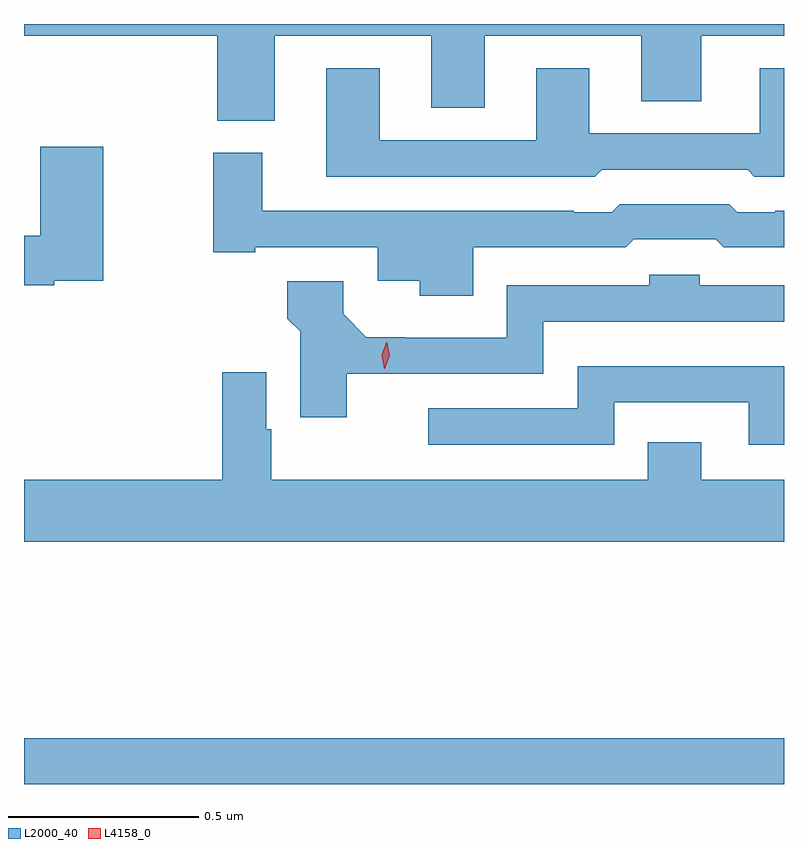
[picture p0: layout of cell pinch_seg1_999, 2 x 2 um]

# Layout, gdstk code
import gdstk
lib = gdstk.Library(unit=1e-6, precision=1e-09)
def R(c, l, rs):  # rectangles x0, y0, x1, y1
    for r in rs: c.add(gdstk.rectangle(r[:2], r[2:], *l))
def P(c, l, *ps):  # polygons
    for p in ps: c.add(gdstk.Polygon(p, *l))
L2000_40 = (2000, 40)
L4158_0 = (4158, 0)

pinch_seg1_999 = lib.new_cell('pinch_seg1_999')
R(pinch_seg1_999, L2000_40, [(300.277,571.075,302.277,571.196)])
P(pinch_seg1_999, L2000_40, [(300.937,573.044),(301.349,573.044),(301.349,572.854),(301.489,572.854),(301.489,573.044),(301.901,573.044),(301.901,572.872),(302.059,572.872),(302.059,573.044),(302.277,573.044),(302.277,573.075),(300.277,573.075),(300.277,573.044),(300.785,573.044),(300.785,572.821),(300.937,572.821)],
  [(301.797,572.691),(302.181,572.691),(302.199,572.673),(302.277,572.673),(302.277,572.959),(302.213,572.959),(302.213,572.787),(301.765,572.787),(301.765,572.959),(301.625,572.959),(301.625,572.769),(301.213,572.769),(301.213,572.959),(301.073,572.959),(301.073,572.673),(301.779,572.673)],
  [(300.357,572.399),(300.486,572.399),(300.486,572.752),(300.32,572.752),(300.32,572.518),(300.277,572.518),(300.277,572.387),(300.357,572.387)],
  [(301.459,572.487),(301.86,572.487),(301.881,572.508),(302.097,572.508),(302.118,572.487),(302.277,572.487),(302.277,572.583),(302.254,572.583),(302.254,572.58),(302.154,572.58),(302.133,572.601),(301.845,572.601),(301.824,572.58),(301.724,572.58),(301.724,572.583),(300.904,572.583),(300.904,572.736),(300.775,572.736),(300.775,572.475),(300.886,572.475),(300.886,572.487),(301.208,572.487),(301.208,572.399),(301.319,572.399),(301.319,572.36),(301.459,572.36)],
  [(301.126,572.154),(301.644,572.154),(301.644,572.292),(302.277,572.292),(302.277,572.388),(302.055,572.388),(302.055,572.415),(301.923,572.415),(301.923,572.388),(301.548,572.388),(301.548,572.25),(301.282,572.25),(301.282,572.251),(301.178,572.251),(301.117,572.312),(301.117,572.398),(300.97,572.398),(300.97,572.3),(301.004,572.266),(301.004,572.04),(301.126,572.04)],
  [(301.83,572.079),(302.184,572.079),(302.184,571.968),(302.277,571.968),(302.277,572.175),(301.734,572.175),(301.734,572.064),(301.341,572.064),(301.341,571.968),(301.83,571.968)],
  [(302.277,571.876),(302.059,571.876),(302.059,571.975),(301.919,571.975),(301.919,571.876),(300.928,571.876),(300.928,572.009),(300.915,572.009),(300.915,572.158),(300.799,572.158),(300.799,571.876),(300.277,571.876),(300.277,571.712),(302.277,571.712)])
P(pinch_seg1_999, L4158_0, [(301.225,572.168),(301.219,572.204),(301.231,572.239),(301.232,572.239),(301.232,572.239),(301.239,572.203),(301.226,572.168),(301.226,572.168)])

lib.write_gds('pinch_seg1_999.gds')
